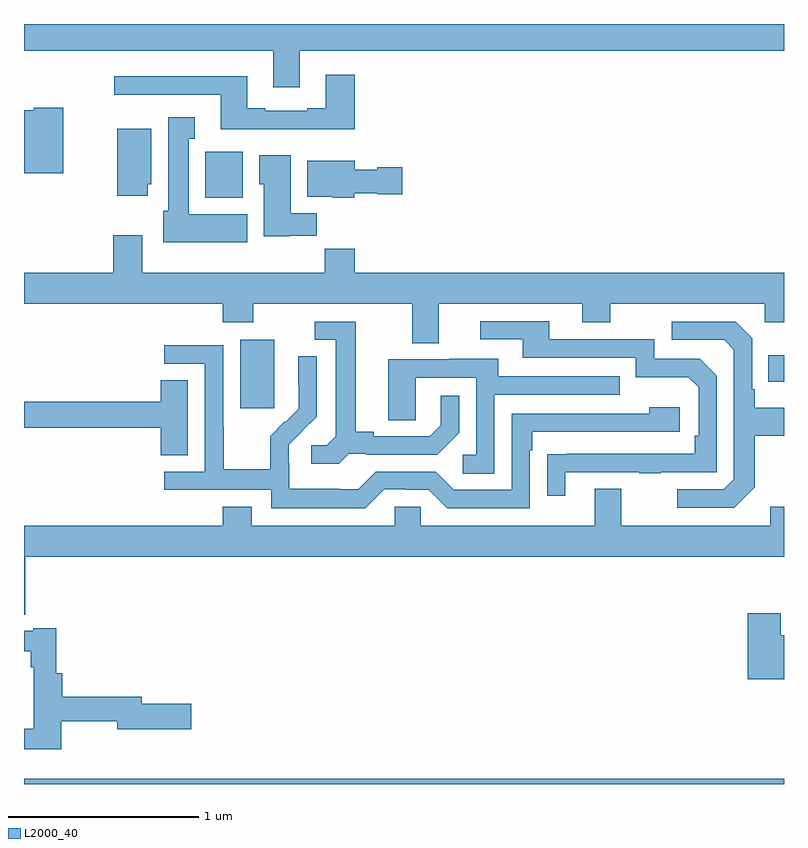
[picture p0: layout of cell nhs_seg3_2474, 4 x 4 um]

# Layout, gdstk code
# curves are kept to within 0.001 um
import gdstk
lib = gdstk.Library(unit=1e-6, precision=1e-09)
def R(c, l, rs):  # rectangles x0, y0, x1, y1
    for r in rs: c.add(gdstk.rectangle(r[:2], r[2:], *l))
def P(c, l, *ps):  # polygons
    for p in ps: c.add(gdstk.Polygon(p, *l))
L2000_40 = (2000, 40)

nhs_seg3_2474 = lib.new_cell('nhs_seg3_2474')
R(nhs_seg3_2474, L2000_40, [(239,686.4,243,686.428), (240.137,688.377,240.316,688.738), (242.917,688.517,243,688.657), (239.954,689.486,240.151,689.728)])
P(nhs_seg3_2474, L2000_40, [(240.451,690.26),(243,690.26),(243,690.4),(239,690.4),(239,690.26),(240.311,690.26),(240.311,690.066),(240.451,690.066)],
  [(240.74,690.133),(240.587,690.133),(240.587,689.956),(240.491,689.956),(240.491,689.943),(240.271,689.943),(240.271,689.956),(240.175,689.956),(240.175,690.124),(239.475,690.124),(239.475,690.027),(240.035,690.027),(240.035,689.846),(240.74,689.846)],
  [(239.206,689.959),(239.052,689.959),(239.052,689.947),(239,689.947),(239,689.615),(239.206,689.615)],
  [(240.175,689.398),(239.866,689.398),(239.866,689.795),(239.899,689.795),(239.899,689.908),(239.759,689.908),(239.759,689.418),(239.732,689.418),(239.732,689.252),(240.175,689.252)],
  [(239.65,689.556),(239.671,689.556),(239.671,689.848),(239.492,689.848),(239.492,689.496),(239.65,689.496)],
  [(240.399,689.286),(240.542,689.286),(240.542,689.404),(240.403,689.404),(240.403,689.71),(240.239,689.71),(240.239,689.556),(240.263,689.556),(240.263,689.282),(240.399,689.282)],
  [(240.738,689.51),(240.858,689.51),(240.858,689.503),(240.991,689.503),(240.991,689.645),(240.858,689.645),(240.858,689.632),(240.742,689.632),(240.742,689.68),(240.491,689.68),(240.491,689.492),(240.624,689.492),(240.624,689.486),(240.738,689.486)],
  [(240.74,689.216),(240.583,689.216),(240.583,689.092),(239.623,689.092),(239.623,689.287),(239.471,689.287),(239.471,689.092),(239,689.092),(239,688.928),(240.047,688.928),(240.047,688.829),(240.207,688.829),(240.207,688.928),(241.043,688.928),(241.043,688.72),(241.183,688.72),(241.183,688.928),(241.937,688.928),(241.937,688.829),(242.085,688.829),(242.085,688.928),(242.898,688.928),(242.898,688.829),(243,688.829),(243,689.092),(240.74,689.092)],
  [(241.849,688.041),(242.239,688.041),(242.239,688.036),(242.351,688.036),(242.351,688.041),(242.646,688.041),(242.646,688.548),(242.556,688.638),(242.316,688.638),(242.316,688.74),(241.765,688.74),(241.765,688.836),(241.401,688.836),(241.401,688.74),(241.625,688.74),(241.625,688.644),(242.22,688.644),(242.22,688.541),(242.497,688.541),(242.55,688.488),(242.55,688.234),(242.53,688.234),(242.53,688.137),(241.753,688.136),(241.753,687.918),(241.849,687.918)],
  [(240.708,688.137),(240.802,688.137),(240.802,688.134),(241.174,688.134),(241.29,688.25),(241.29,688.444),(241.193,688.444),(241.193,688.287),(241.136,688.23),(240.841,688.23),(240.841,688.253),(240.745,688.253),(240.745,688.833),(240.531,688.833),(240.531,688.737),(240.641,688.737),(240.641,688.229),(240.594,688.182),(240.513,688.182),(240.513,688.085),(240.656,688.085)],
  [(242.845,687.961),(242.845,688.234),(243,688.234),(243,688.381),(242.845,688.381),(242.845,688.477),(242.832,688.477),(242.832,688.746),(242.745,688.833),(242.409,688.833),(242.409,688.737),(242.685,688.737),(242.736,688.686),(242.736,688.005),(242.682,687.951),(242.439,687.951),(242.439,687.855),(242.739,687.855)],
  [(240.897,687.951),(241.013,687.951),(241.013,687.948),(241.131,687.948),(241.227,687.852),(241.662,687.852),(241.662,688.157),(241.675,688.157),(241.675,688.254),(242.452,688.254),(242.452,688.384),(242.291,688.384),(242.291,688.35),(241.566,688.35),(241.566,687.948),(241.263,687.948),(241.167,688.044),(240.852,688.044),(240.759,687.951),(240.659,687.951),(240.659,687.955),(240.396,687.955),(240.396,688.089),(240.394,688.089),(240.394,688.186),(240.54,688.334),(240.54,688.652),(240.444,688.652),(240.444,688.498),(240.446,688.498),(240.446,688.376),(240.375,688.305),(240.372,688.308),(240.295,688.231),(240.295,688.057),(240.051,688.057),(240.051,688.28),(240.048,688.28),(240.048,688.71),(239.739,688.71),(239.739,688.611),(239.952,688.611),(239.952,688.044),(239.739,688.044),(239.739,687.948),(240.3,687.948),(240.3,687.851),(240.797,687.851)],
  [(241.476,688.449),(242.135,688.449),(242.135,688.545),(241.495,688.545),(241.495,688.639),(241.241,688.639),(241.241,688.635),(240.917,688.635),(240.917,688.315),(241.062,688.315),(241.062,688.539),(241.38,688.539),(241.38,688.134),(241.308,688.134),(241.308,688.033),(241.476,688.033)],
  [(239.863,688.526),(239.72,688.526),(239.72,688.412),(239,688.412),(239,688.276),(239.72,688.276),(239.72,688.129),(239.863,688.129)],
  [(243,687.859),(242.927,687.859),(242.927,687.76),(242.143,687.76),(242.143,687.955),(242.003,687.955),(242.003,687.76),(241.089,687.76),(241.089,687.858),(240.951,687.858),(240.951,687.76),(240.199,687.76),(240.199,687.859),(240.047,687.859),(240.047,687.76),(239,687.76),(239,687.292),(239.006,687.292),(239.006,687.596),(243,687.596)],
  [(243,687.184),(242.983,687.184),(242.983,687.3),(242.81,687.3),(242.81,686.951),(243,686.951)],
  [(239.196,686.73),(239.492,686.73),(239.492,686.687),(239.881,686.687),(239.881,686.822),(239.62,686.822),(239.62,686.858),(239.201,686.858),(239.201,686.983),(239.171,686.983),(239.171,687.22),(239.048,687.22),(239.048,687.207),(239,687.207),(239,687.099),(239.035,687.099),(239.035,687.014),(239.05,687.014),(239.05,686.692),(239,686.692),(239,686.582),(239.196,686.582)])

lib.write_gds('nhs_seg3_2474.gds')
